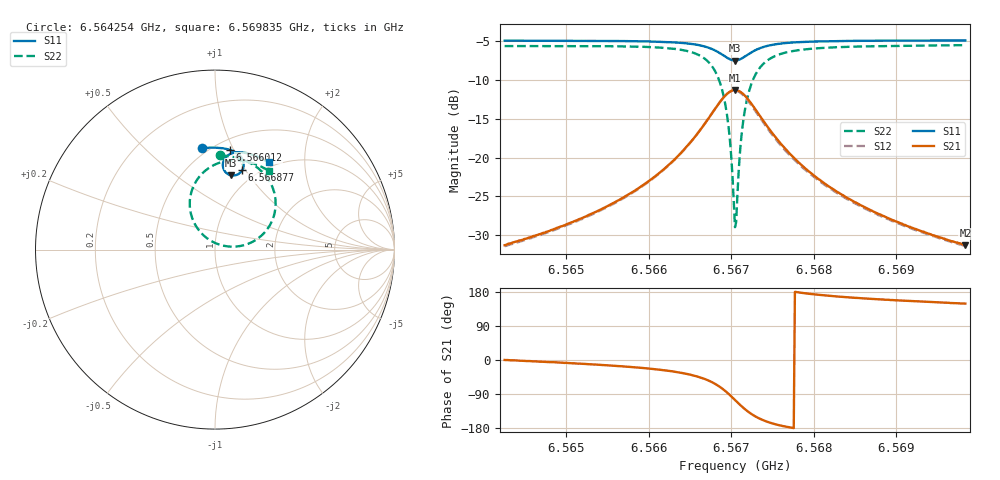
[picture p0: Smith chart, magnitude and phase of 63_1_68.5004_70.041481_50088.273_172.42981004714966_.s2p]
#  HZ  S  RI  R  50.00
! Rohde & Schwarz Vector Network Analyzer
! Rohde-Schwarz,ZNB20-2Port,1311601062101988,3.16
! Created: UTC 3/20/2024, 5:06:34 PM
! freq[Hz]  re:S11  im:S11  re:S21  im:S21  re:S12  im:S12  re:S22  im:S22
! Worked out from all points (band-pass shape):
!   401 points, 6.564254 GHz to 6.569835 GHz, reference 50 ohm
!   highest |S21| = -11.27 dB at 6.567044 GHz (marker M1); lowest = -31.3 dB at 6.569835 GHz (marker M2)
!   |S21| within 3 dB of the highest: 6.566766 GHz to 6.567324 GHz (557.5 kHz wide, 0.00849 % of centre)
!   lowest |S11| = -7.5 dB at 6.567044 GHz (marker M3), VSWR 2.47, Z = 41 + j41.4 ohm
!   |S11| at or under -10 dB: nowhere
!   |S22| runs from -29.0 to -5.5 dB; largest |S21 - S12| = 0.013
!   S11 on the Smith chart (normalised r, x): 6.564254 GHz: 0.46, +0.77; 6.566012 GHz: 0.59, +0.96; 6.566877 GHz: 0.85, +0.97; 6.569835 GHz: 0.92, +1.33
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6.5642536e9  -0.0707 0.5645  0.0272 4.14e-05  0.0268 -0.000416  0.0285 0.5243
6.5651884e9  0.0054 0.5678  0.0401 -0.00708  0.0393 -0.00762  0.1158 0.5124
6.5660117e9  0.081 0.5563  0.0657 -0.0278  0.0647 -0.0286  0.2188 0.4688
6.5661233e9  0.0926 0.5525  0.0715 -0.034  0.0705 -0.035  0.2374 0.4558
6.5664163e9  0.1258 0.5348  0.0913 -0.0635  0.0897 -0.0646  0.2929 0.398
6.5666395e9  0.1514 0.5058  0.1056 -0.1137  0.1032 -0.1159  0.334 0.3009
6.5667791e9  0.1597 0.4728  0.0988 -0.1715  0.0946 -0.1746  0.3287 0.1905
6.5668767e9  0.1515 0.442  0.0672 -0.2243  0.0598 -0.227  0.2729 0.0915
6.5669605e9  0.1269 0.419  0.0082 -0.2615  -0.00225 -0.2615  0.1653 0.0255
6.5669884e9  0.1151 0.4146  -0.0178 -0.2672  -0.0288 -0.2655  0.1185 0.017
6.5670302e9  0.0958 0.4132  -0.0592 -0.2662  -0.0704 -0.2618  0.0448 0.0221
6.5670442e9  0.0892 0.4142  -0.0731 -0.2632  -0.0839 -0.2577  0.0205 0.029
6.5670581e9  0.0827 0.4159  -0.0864 -0.2587  -0.097 -0.2523  -0.00245 0.0382
6.5670721e9  0.0766 0.4184  -0.0993 -0.2532  -0.1095 -0.2457  -0.0244 0.0498
6.5671139e9  0.0609 0.4294  -0.1328 -0.2296  -0.1407 -0.22  -0.0797 0.0955
6.5671558e9  0.05 0.4442  -0.1567 -0.1997  -0.1622 -0.1891  -0.1168 0.1508
6.5672116e9  0.0437 0.4653  -0.1736 -0.1577  -0.1756 -0.1473  -0.1388 0.2262
6.5672814e9  0.0458 0.489  -0.1764 -0.1114  -0.1756 -0.1024  -0.135 0.3068
6.5675325e9  0.0843 0.5325  -0.1336 -0.0246  -0.1307 -0.0208  -0.0383 0.4519
6.567979e9  0.145 0.5422  -0.0779 0.00836  -0.076 0.0095  0.0901 0.4971
6.5689139e9  0.2306 0.5204  -0.0376 0.0147  -0.0369 0.015  0.2198 0.4781
6.5698348e9  0.2981 0.4869  -0.0232 0.0141  -0.0227 0.0143  0.2987 0.4406
